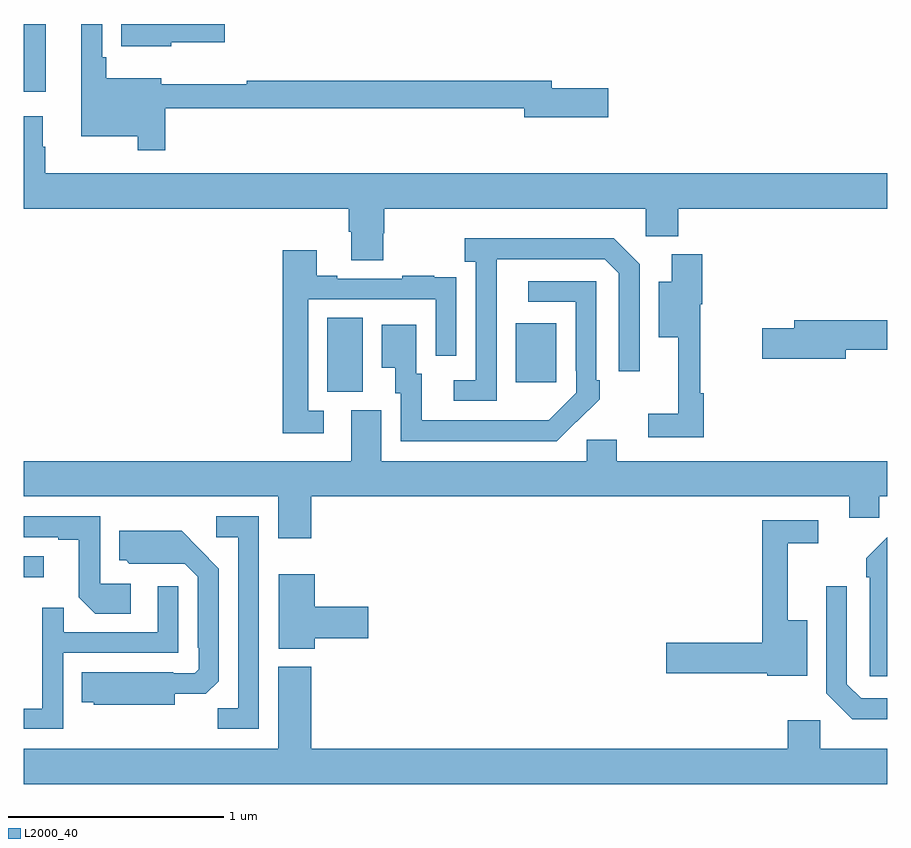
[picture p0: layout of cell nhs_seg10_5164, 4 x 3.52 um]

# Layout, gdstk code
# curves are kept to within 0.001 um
import gdstk
lib = gdstk.Library(unit=1e-6, precision=1e-09)
def R(c, l, rs):  # rectangles x0, y0, x1, y1
    for r in rs: c.add(gdstk.rectangle(r[:2], r[2:], *l))
def P(c, l, *ps):  # polygons
    for p in ps: c.add(gdstk.Polygon(p, *l))
L2000_40 = (2000, 40)

nhs_seg10_5164 = lib.new_cell('nhs_seg10_5164')
R(nhs_seg10_5164, L2000_40, [(411,1303.937,411.094,1304.034), (412.406,1304.797,412.57,1305.14), (413.279,1304.841,413.467,1305.115), (411,1306.187,411.103,1306.5)])
P(nhs_seg10_5164, L2000_40, [(411.656,1306.11),(413.318,1306.11),(413.318,1306.067),(413.707,1306.067),(413.707,1306.202),(413.446,1306.202),(413.446,1306.238),(412.033,1306.238),(412.033,1306.22),(411.637,1306.22),(411.637,1306.249),(411.383,1306.249),(411.383,1306.345),(411.363,1306.345),(411.363,1306.5),(411.266,1306.5),(411.266,1305.98),(411.528,1305.98),(411.528,1305.915),(411.656,1305.915)],
  [(411.684,1306.415),(411.931,1306.415),(411.931,1306.5),(411.452,1306.5),(411.452,1306.397),(411.684,1306.397)],
  [(412.665,1305.531),(412.67,1305.531),(412.67,1305.644),(413.88,1305.644),(413.88,1305.518),(414.032,1305.518),(414.032,1305.644),(415,1305.644),(415,1305.808),(411.1,1305.808),(411.1,1305.932),(411.088,1305.932),(411.088,1306.072),(411,1306.072),(411,1305.644),(412.505,1305.644),(412.505,1305.538),(412.517,1305.538),(412.517,1305.406),(412.665,1305.406)],
  [(413.19,1305.211),(413.191,1305.411),(413.691,1305.411),(413.757,1305.345),(413.757,1304.892),(413.853,1304.892),(413.853,1305.387),(413.732,1305.508),(413.043,1305.508),(413.043,1305.398),(413.094,1305.398),(413.094,1304.85),(412.992,1304.85),(412.992,1304.754),(413.19,1304.754)],
  [(412.39,1304.709),(412.317,1304.709),(412.317,1305.225),(412.908,1305.225),(412.908,1304.964),(413.004,1304.964),(413.004,1305.218),(413.003,1305.218),(413.003,1305.327),(412.901,1305.327),(412.901,1305.334),(412.753,1305.334),(412.753,1305.321),(412.453,1305.321),(412.453,1305.334),(412.357,1305.334),(412.357,1305.451),(412.201,1305.451),(412.201,1304.604),(412.39,1304.604)],
  [(414.149,1304.789),(414.134,1304.789),(414.134,1305.203),(414.143,1305.203),(414.143,1305.433),(414.002,1305.433),(414.002,1305.307),(413.942,1305.307),(413.942,1305.05),(414.032,1305.05),(414.032,1304.695),(413.892,1304.695),(413.892,1304.586),(414.149,1304.586)],
  [(413.561,1304.659),(413.562,1304.658),(413.667,1304.763),(413.667,1304.851),(413.652,1304.851),(413.652,1305.309),(413.337,1305.309),(413.337,1305.213),(413.556,1305.213),(413.556,1304.893),(413.559,1304.893),(413.559,1304.793),(413.431,1304.665),(412.843,1304.664),(412.843,1304.88),(412.819,1304.88),(412.819,1305.106),(412.658,1305.106),(412.658,1304.909),(412.721,1304.909),(412.721,1304.79),(412.746,1304.79),(412.746,1304.568),(413.47,1304.568)],
  [(414.808,1304.992),(415,1304.992),(415,1305.128),(414.569,1305.128),(414.569,1305.092),(414.42,1305.092),(414.42,1304.95),(414.808,1304.95)],
  [(412.331,1304.312),(414.824,1304.312),(414.824,1304.214),(414.963,1304.214),(414.963,1304.312),(415,1304.312),(415,1304.476),(413.746,1304.476),(413.746,1304.574),(413.607,1304.574),(413.607,1304.476),(412.657,1304.476),(412.657,1304.712),(412.517,1304.712),(412.517,1304.476),(411,1304.476),(411,1304.312),(412.178,1304.312),(412.178,1304.118),(412.331,1304.118)],
  [(411.496,1303.908),(411.354,1303.908),(411.354,1304.22),(411,1304.22),(411,1304.124),(411.161,1304.124),(411.161,1304.112),(411.255,1304.112),(411.255,1303.844),(411.331,1303.768),(411.496,1303.768)],
  [(412.089,1304.22),(411.891,1304.22),(411.891,1304.124),(411.993,1304.124),(411.993,1303.331),(411.898,1303.331),(411.898,1303.236),(412.089,1303.236)],
  [(414.628,1303.738),(414.539,1303.738),(414.539,1304.094),(414.679,1304.094),(414.679,1304.202),(414.421,1304.202),(414.421,1303.634),(413.976,1303.634),(413.976,1303.492),(414.444,1303.492),(414.444,1303.481),(414.628,1303.481)],
  [(411.7,1303.397),(411.844,1303.397),(411.903,1303.456),(411.903,1303.978),(411.731,1304.152),(411.443,1304.152),(411.443,1304.016),(411.474,1304.016),(411.49,1304),(411.747,1304.001),(411.807,1303.941),(411.807,1303.612),(411.81,1303.612),(411.81,1303.512),(411.792,1303.494),(411.692,1303.494),(411.692,1303.498),(411.268,1303.498),(411.268,1303.358),(411.324,1303.358),(411.324,1303.346),(411.7,1303.346)],
  [(415,1304.122),(414.903,1304.025),(414.903,1303.937),(414.918,1303.937),(414.918,1303.479),(415,1303.479)],
  [(412.348,1303.655),(412.597,1303.655),(412.597,1303.802),(412.348,1303.802),(412.348,1303.951),(412.181,1303.951),(412.181,1303.607),(412.348,1303.607)],
  [(411.183,1303.587),(411.717,1303.587),(411.717,1303.897),(411.621,1303.897),(411.621,1303.683),(411.185,1303.683),(411.185,1303.796),(411.087,1303.796),(411.087,1303.329),(411,1303.329),(411,1303.236),(411.183,1303.236)],
  [(415,1303.377),(414.879,1303.377),(414.813,1303.443),(414.813,1303.897),(414.717,1303.897),(414.717,1303.401),(414.838,1303.28),(415,1303.28)],
  [(415,1303.144),(414.69,1303.144),(414.69,1303.276),(414.539,1303.276),(414.539,1303.144),(412.331,1303.144),(412.331,1303.522),(412.178,1303.522),(412.178,1303.144),(411,1303.144),(411,1302.98),(415,1302.98)])

lib.write_gds('nhs_seg10_5164.gds')
